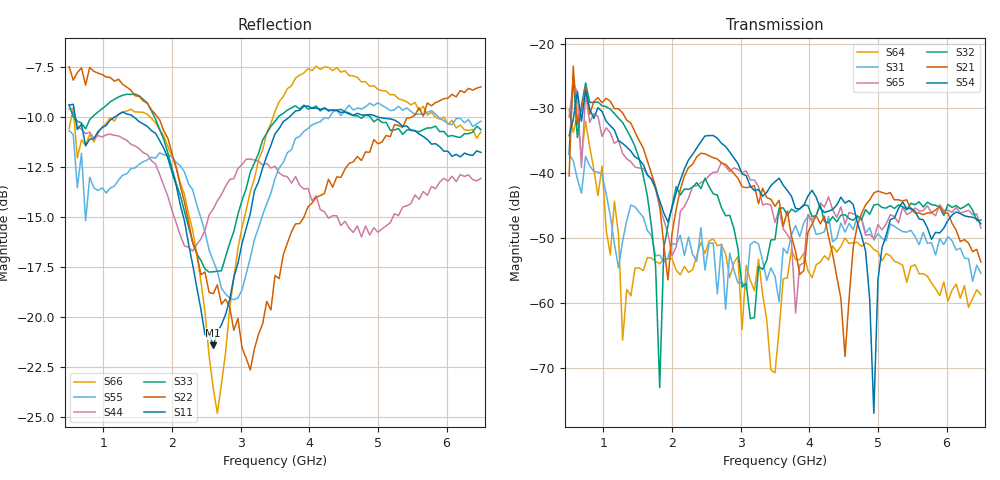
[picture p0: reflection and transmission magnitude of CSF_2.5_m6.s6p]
!Keysight Technologies,M9804A,MY58100912,A.14.10.03
!Date: Thursday, April 27, 2023 10:28:33
!Correction: S11(C  6-Port  )
!S12(C  6-Port  )
!S13(C  6-Port  )
!S14(C  6-Port  )
!S15(C  6-Port  )
!S16(C  6-Port  )
!S21(C  6-Port  )
!S22(C  6-Port  )
!S23(C  6-Port  )
!S24(C  6-Port  )
!S25(C  6-Port  )
!S26(C  6-Port  )
!S31(C  6-Port  )
!S32(C  6-Port  )
!S33(C  6-Port  )
!S34(C  6-Port  )
!S35(C  6-Port  )
!S36(C  6-Port  )
!S41(C  6-Port  )
!S42(C  6-Port  )
!S43(C  6-Port  )
!S44(C  6-Port  )
!S45(C  6-Port  )
!S46(C  6-Port  )
!S51(C  6-Port  )
!S52(C  6-Port  )
!S53(C  6-Port  )
!S54(C  6-Port  )
!S55(C  6-Port  )
!S56(C  6-Port  )
!S61(C  6-Port  )
!S62(C  6-Port  )
!S63(C  6-Port  )
!S64(C  6-Port  )
!S65(C  6-Port  )
!S66(C  6-Port  )
!S6P File: Measurement: :
# Hz S  RI  R 50
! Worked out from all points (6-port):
!   101 points, 500 MHz to 6.5 GHz, reference 50 ohm
!   strongest paths, dB at 500 MHz, 2 GHz, 3.5 GHz, 5 GHz, 6.5 GHz:
!     S54: -34.2, -45.3, -41.3, -56.4, -47.8
!     S21: -40.4, -49.2, -45.1, -42.7, -53.7
!     S32: -37.0, -45.0, -50.2, -44.8, -47.2
!     S65: -31.3, -52.7, -47.6, -47.9, -48.4
!     S31: -37.1, -50.8, -55.9, -49.3, -55.4
!     S64: -30.2, -53.1, -70.7, -52.1, -58.7
!   lowest |S11| = -21.4 dB at 2.6 GHz (marker M1), VSWR 1.19, Z = 42.5 + j2.19 ohm
!   |S11| at or under -10 dB: 589.2 MHz to 1.174 GHz (585.2 MHz wide, 66.4 % of centre); 1.433 GHz to 3.716 GHz (2.284 GHz wide, 88.7 % of centre); 4.979 GHz to end of sweep
